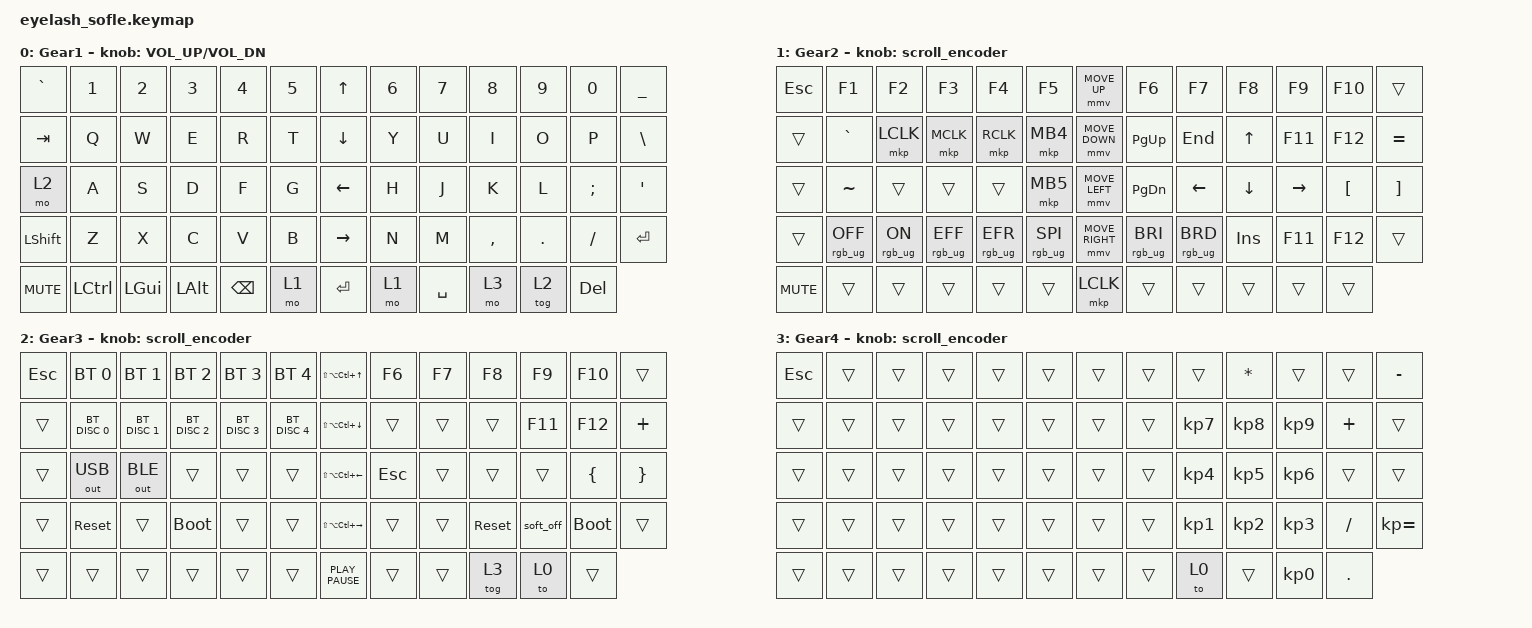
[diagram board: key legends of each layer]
#define ZMK_POINTING_DEFAULT_MOVE_VAL 1200  // 600
#define ZMK_POINTING_DEFAULT_SCRL_VAL 25   // 10

#include <input/processors.dtsi>
#include <zephyr/dt-bindings/input/input-event-codes.h>
#include <behaviors.dtsi>
#include <dt-bindings/zmk/bt.h>
#include <dt-bindings/zmk/keys.h>
#include <dt-bindings/zmk/outputs.h>
#include <dt-bindings/zmk/pointing.h>
#include <dt-bindings/zmk/rgb.h>

&mmv_input_listener { input-processors = <&zip_xy_scaler 2 1>; };

&msc_input_listener { input-processors = <&zip_scroll_scaler 2 1>; };

&msc {
    acceleration-exponent = <1>;      // 0
    time-to-max-speed-ms = <100>;       // 300
    delay-ms = <0>;                   // 0
};

&mmv {
    time-to-max-speed-ms = <500>;
    acceleration-exponent = <1>;
    trigger-period-ms = <16>;
};

&soft_off { hold-time-ms = <2000>; };

/ {
    scroll_encoder: scroll_encoder {
        compatible = "zmk,behavior-sensor-rotate";
        #sensor-binding-cells = <0>;
        bindings = <&msc SCRL_DOWN>, <&msc SCRL_UP>;

        tap-ms = <100>;
    };

    behaviors {
    };

    combos {
        compatible = "zmk,combos";

        softoff {
            bindings = <&soft_off>;
            key-positions = <14 28 40>;
        };
    };

    macros {
        SHIFT_MCLK: SHIFT_MCLK {
            compatible = "zmk,behavior-macro";
            #binding-cells = <0>;
            bindings =
                <&macro_press>,
                <&kp LEFT_SHIFT>,
                <&macro_press>,
                <&mkp MB3>,
                <&macro_pause_for_release>,
                <&macro_release>,
                <&kp LEFT_SHIFT &mkp MB3>;

            label = "SHIFT_MCLK";
        };
    };

    keymap {
        compatible = "zmk,keymap";

        Gear1 {
            bindings = <
&kp GRAVE   &kp N1     &kp N2        &kp N3        &kp N4         &kp N5    &kp UP_ARROW     &kp N6  &kp N7     &kp N8     &kp N9   &kp N0      &kp UNDERSCORE
&kp TAB     &kp Q      &kp W         &kp E         &kp R          &kp T     &kp DOWN_ARROW   &kp Y   &kp U      &kp I      &kp O    &kp P       &kp BSLH
&mo 2       &kp A      &kp S         &kp D         &kp F          &kp G     &kp LEFT_ARROW   &kp H   &kp J      &kp K      &kp L    &kp SEMI    &kp APOS
&kp LSHFT   &kp Z      &kp X         &kp C         &kp V          &kp B     &kp RIGHT_ARROW  &kp N   &kp M      &kp COMMA  &kp DOT  &kp FSLH    &kp ENTER
&kp C_MUTE  &kp LCTRL  &kp LEFT_GUI  &kp LEFT_ALT  &kp BACKSPACE  &mo 1     &kp ENTER        &mo 1   &kp SPACE  &mo 3      &tog 2   &kp DELETE
            >;

            sensor-bindings = <&inc_dec_kp C_VOLUME_UP C_VOL_DN>;
            display-name = "Gear1";
        };

        Gear2 {
            bindings = <
&kp ESC     &kp F1           &kp F2          &kp F3           &kp F4           &kp F5             &mmv MOVE_UP     &kp F6           &kp F7           &kp F8      &kp F9     &kp F10           &trans
&trans      &kp GRAVE        &mkp LCLK       &mkp MCLK        &mkp RCLK        &mkp MB4           &mmv MOVE_DOWN   &kp PG_UP        &kp END          &kp UP      &kp F11    &kp F12           &kp EQUAL
&trans      &kp TILDE        &trans          &trans           &trans           &mkp MB5           &mmv MOVE_LEFT   &kp PG_DN        &kp LEFT         &kp DOWN    &kp RIGHT  &kp LEFT_BRACKET  &kp RIGHT_BRACKET
&trans      &rgb_ug RGB_OFF  &rgb_ug RGB_ON  &rgb_ug RGB_EFF  &rgb_ug RGB_EFR  &rgb_ug RGB_SPI    &mmv MOVE_RIGHT  &rgb_ug RGB_BRI  &rgb_ug RGB_BRD  &kp INSERT  &kp F11    &kp F12           &trans
&kp C_MUTE  &trans           &trans          &trans           &trans           &trans             &mkp LCLK        &trans           &trans           &trans      &trans     &trans
            >;

            display-name = "Gear2";
            sensor-bindings = <&scroll_encoder>;
        };

        Gear3 {
            bindings = <
&kp ESCAPE  &bt BT_SEL 0   &bt BT_SEL 1   &bt BT_SEL 2   &bt BT_SEL 3   &bt BT_SEL 4     &kp LS(LA(LC(UP)))           &kp F6      &kp F7  &kp F8      &kp F9     &kp F10      &trans
&trans      &bt BT_DISC 0  &bt BT_DISC 1  &bt BT_DISC 2  &bt BT_DISC 3  &bt BT_DISC 4    &kp LS(LA(LC(DOWN_ARROW)))   &trans      &trans  &trans      &kp F11    &kp F12      &kp PLUS
&trans      &out OUT_USB   &out OUT_BLE   &trans         &trans         &trans           &kp LS(LA(LC(LEFT_ARROW)))   &kp ESCAPE  &trans  &trans      &trans     &kp LBRC     &kp RBRC
&trans      &sys_reset     &trans         &bootloader    &trans         &trans           &kp LS(LA(LC(RIGHT_ARROW)))  &trans      &trans  &sys_reset  &soft_off  &bootloader  &trans
&trans      &trans         &trans         &trans         &trans         &trans           &kp K_PLAY_PAUSE             &trans      &trans  &tog 3      &to 0      &trans
            >;

            display-name = "Gear3";
            sensor-bindings = <&scroll_encoder>;
        };

        Gear4 {
            bindings = <
&kp ESCAPE  &trans  &trans  &trans  &trans  &trans    &trans  &trans  &trans           &kp ASTERISK     &trans           &trans     &kp MINUS
&trans      &trans  &trans  &trans  &trans  &trans    &trans  &trans  &kp KP_NUMBER_7  &kp KP_NUMBER_8  &kp KP_NUMBER_9  &kp PLUS   &trans
&trans      &trans  &trans  &trans  &trans  &trans    &trans  &trans  &kp KP_NUMBER_4  &kp KP_NUMBER_5  &kp KP_NUMBER_6  &trans     &trans
&trans      &trans  &trans  &trans  &trans  &trans    &trans  &trans  &kp KP_NUMBER_1  &kp KP_NUMBER_2  &kp KP_NUMBER_3  &kp SLASH  &kp KP_EQUAL
&trans      &trans  &trans  &trans  &trans  &trans    &trans  &trans  &to 0            &trans           &kp KP_NUMBER_0  &kp DOT
            >;

            sensor-bindings = <&scroll_encoder>;
        };
    };
};
